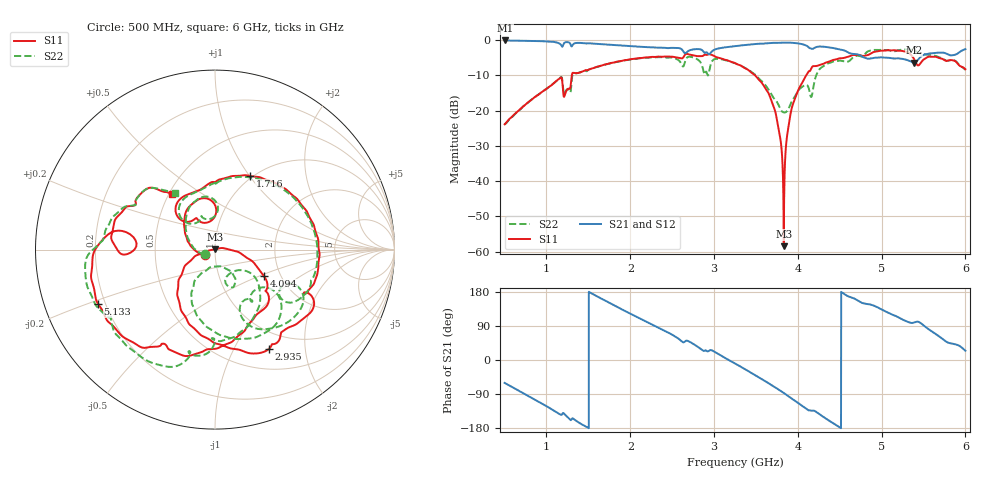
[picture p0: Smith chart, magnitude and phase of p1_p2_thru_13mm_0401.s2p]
# Hz S DB R 50
! CMT, C2409, 19096212, 19.2.3/2
! Date: 4/1/2022 3:28:42 AM
! Data: Format (Calibration Info)
! Freq	S11:dB/Ang(F2)	S21:dB/Ang(F2)	S12:dB/Ang(F2)	S22:dB/Ang(F2)
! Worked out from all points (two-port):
!   5001 points, 500 MHz to 6 GHz, reference 50 ohm
!   highest |S21| = -0.10 dB at 501 MHz (marker M1); lowest = -6.4 dB at 5.387 GHz (marker M2)
!   |S21| within 3 dB of the highest: start of sweep to 2.63 GHz; 2.98 GHz to 4.571 GHz (1.591 GHz wide, 42.1 % of centre)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
!   lowest |S11| = -58.4 dB at 3.832 GHz (marker M3), VSWR 1.00, Z = 50 + j0.118 ohm
!   |S11| at or under -10 dB: start of sweep to 1.302 GHz; 3.49 GHz to 4.1 GHz (610 MHz wide, 16.1 % of centre)
!   |S22| runs from -23.9 to -2.6 dB; largest |S21 - S12| = 0.0071
!   S11 on the Smith chart (normalised r, x): 500 MHz: 0.89, -0.06; 1.716 GHz: 0.97, +1.01; 2.935 GHz: 0.76, -1.39; 4.094 GHz: 1.64, -0.53; 5.133 GHz: 0.17, -0.22; 6 GHz: 0.53, +0.38
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5e8  -23.85 -150.9  -0.10 -60.4  -0.11 -60.4  -23.94 -154.7
5.00995e8  -23.83 -151.0  -0.10 -60.6  -0.11 -60.5  -23.91 -154.8
8.98787e8  -15.56 159.2  -0.28 -109.1  -0.29 -109.1  -15.49 155.9
1.168472e9  -10.70 110.6  -1.23 -144.4  -1.24 -144.4  -10.56 108.9
1.21526e9  -15.81 112.9  -0.75 -142.7  -0.76 -142.7  -15.13 104.7
1.416977e9  -9.00 99.6  -0.81 -169.2  -0.84 -169.2  -9.01 97.2
1.715773e9  -6.85 64.4  -1.26 154.7  -1.29 154.8  -6.85 61.6
2.333793e9  -4.68 -2.4  -2.13 85.4  -2.15 85.5  -4.83 -6.1
2.792411e9  -4.52 -47.6  -2.54 36.7  -2.53 37.0  -5.34 -54.1
2.934694e9  -4.02 -61.6  -3.94 23.6  -3.92 23.8  -9.66 -40.1
3.251061e9  -6.53 -101.3  -1.71 -9.2  -1.66 -9.3  -6.55 -88.0
3.639318e9  -14.59 -152.2  -0.87 -59.7  -0.85 -59.8  -13.60 -123.1
3.832366e9  -58.42 79.3  -0.71 -87.0  -0.71 -87.0  -20.51 -89.9
3.942481e9  -18.07 -4.9  -0.78 -103.7  -0.79 -103.7  -16.79 -54.4
4.094239e9  -10.22 -28.3  -1.47 -127.6  -1.48 -127.4  -12.68 -63.4
4.168149e9  -7.65 -43.6  -2.49 -133.5  -2.50 -133.2  -15.70 -45.7
4.48183e9  -5.26 -87.4  -2.51 -175.3  -2.49 -174.9  -5.89 -84.5
5.084846e9  -2.89 -148.5  -5.01 123.9  -4.96 124.1  -2.86 -142.1
5.133088e9  -2.87 -155.0  -5.21 119.1  -5.13 119.1  -3.19 -146.8
5.386601e9  -5.33 168.8  -6.38 98.9  -6.34 98.9  -2.82 -175.2
5.605078e9  -4.73 167.9  -3.73 74.6  -3.67 74.5  -4.35 166.1
6e9  -8.25 127.2  -2.57 24.6  -2.54 24.3  -8.45 124.3
